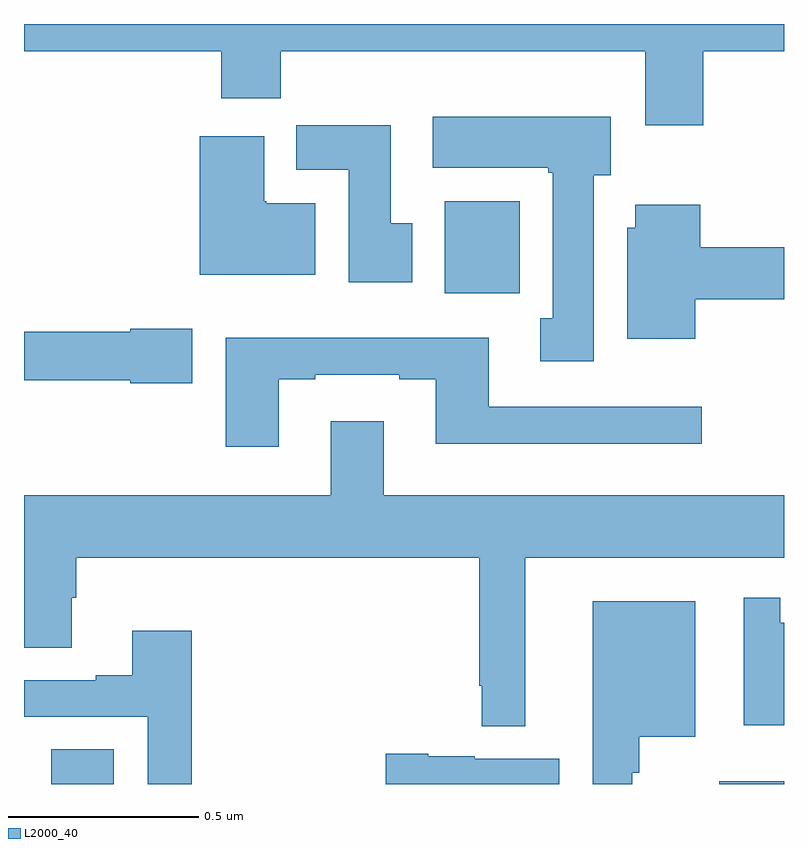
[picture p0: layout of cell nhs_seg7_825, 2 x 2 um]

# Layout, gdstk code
import gdstk
lib = gdstk.Library(unit=1e-6, precision=1e-09)
def R(c, l, rs):  # rectangles x0, y0, x1, y1
    for r in rs: c.add(gdstk.rectangle(r[:2], r[2:], *l))
def P(c, l, *ps):  # polygons
    for p in ps: c.add(gdstk.Polygon(p, *l))
L2000_40 = (2000, 40)

nhs_seg7_825 = lib.new_cell('nhs_seg7_825')
R(nhs_seg7_825, L2000_40, [(122.072,1020,122.236,1020.092), (123.83,1020,124,1020.007), (123.107,1021.292,123.304,1021.534)])
P(nhs_seg7_825, L2000_40, [(123.788,1021.928),(124,1021.928),(124,1022),(122,1022),(122,1021.928),(122.519,1021.928),(122.519,1021.804),(122.675,1021.804),(122.675,1021.928),(123.635,1021.928),(123.635,1021.734),(123.788,1021.734)],
  [(123.499,1021.602),(123.544,1021.602),(123.544,1021.756),(123.075,1021.756),(123.075,1021.622),(123.379,1021.622),(123.379,1021.609),(123.392,1021.609),(123.392,1021.226),(123.359,1021.226),(123.359,1021.113),(123.499,1021.113)],
  [(123.022,1021.476),(122.965,1021.476),(122.965,1021.734),(122.717,1021.734),(122.717,1021.616),(122.855,1021.616),(122.855,1021.32),(123.022,1021.32)],
  [(122.767,1021.528),(122.638,1021.528),(122.638,1021.534),(122.632,1021.534),(122.632,1021.705),(122.462,1021.705),(122.462,1021.34),(122.767,1021.34)],
  [(123.766,1021.276),(124,1021.276),(124,1021.412),(123.779,1021.412),(123.779,1021.525),(123.608,1021.525),(123.608,1021.464),(123.587,1021.464),(123.587,1021.172),(123.766,1021.172)],
  [(122.443,1021.198),(122.28,1021.198),(122.28,1021.19),(122,1021.19),(122,1021.062),(122.28,1021.062),(122.28,1021.054),(122.443,1021.054)],
  [(122.671,1021.065),(122.767,1021.065),(122.767,1021.077),(122.987,1021.077),(122.987,1021.065),(123.083,1021.065),(123.083,1020.896),(123.784,1020.896),(123.784,1020.993),(123.223,1020.993),(123.223,1021.174),(122.531,1021.174),(122.531,1020.888),(122.671,1020.888)],
  [(122.947,1020.955),(122.807,1020.955),(122.807,1020.76),(122,1020.76),(122,1020.358),(122.125,1020.358),(122.125,1020.49),(122.138,1020.49),(122.138,1020.596),(123.198,1020.596),(123.198,1020.259),(123.205,1020.259),(123.205,1020.152),(123.319,1020.152),(123.319,1020.596),(124,1020.596),(124,1020.76),(122.947,1020.76)],
  [(124,1020.424),(123.99,1020.424),(123.99,1020.49),(123.894,1020.49),(123.894,1020.155),(124,1020.155)],
  [(123.601,1020.029),(123.619,1020.029),(123.619,1020.125),(123.766,1020.125),(123.766,1020.481),(123.497,1020.481),(123.497,1020),(123.601,1020)],
  [(122.441,1020.403),(122.285,1020.403),(122.285,1020.286),(122.189,1020.286),(122.189,1020.273),(122,1020.273),(122,1020.177),(122.325,1020.177),(122.325,1020),(122.441,1020)],
  [(123.409,1020.067),(123.186,1020.067),(123.186,1020.073),(123.064,1020.073),(123.064,1020.08),(122.952,1020.08),(122.952,1020),(123.409,1020)])

lib.write_gds('nhs_seg7_825.gds')
